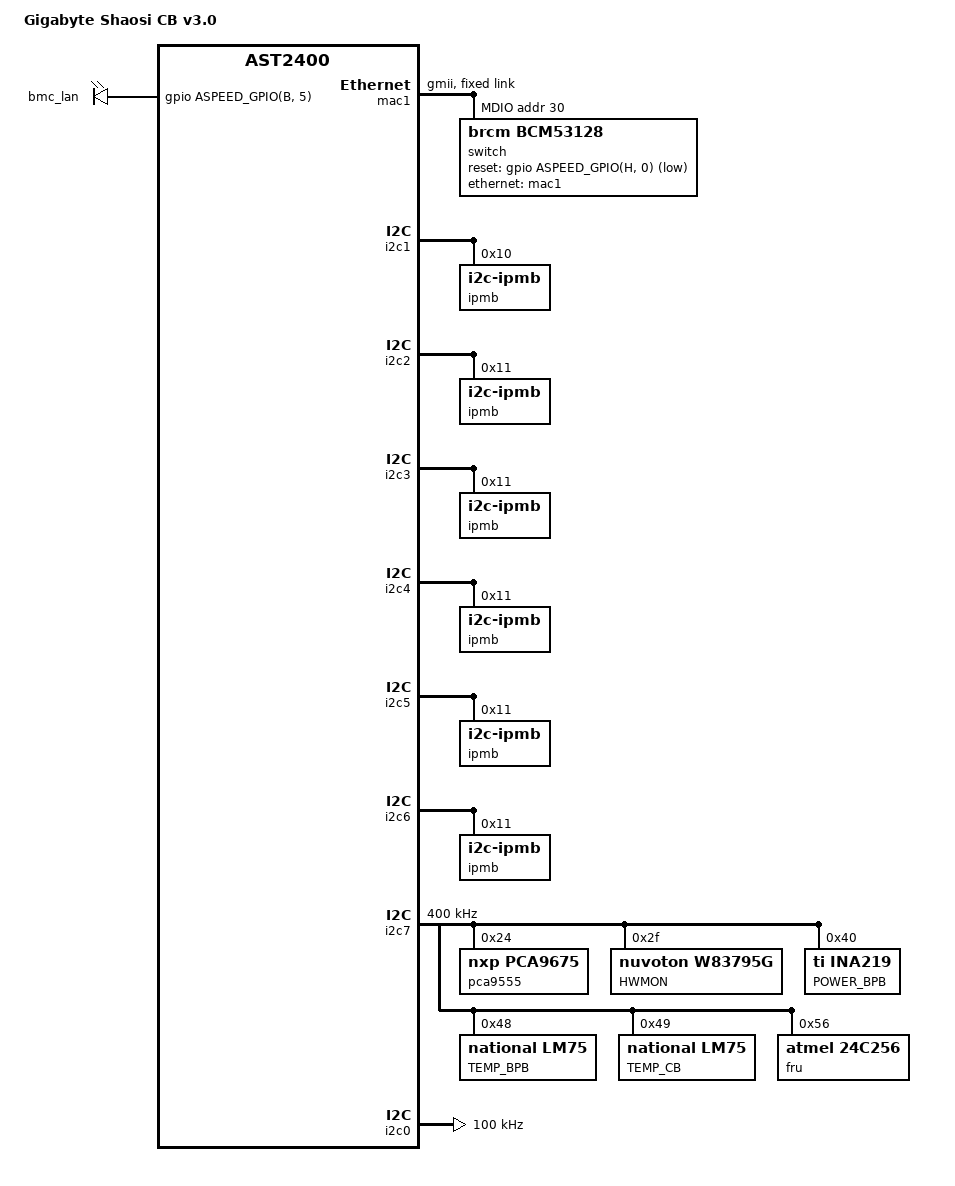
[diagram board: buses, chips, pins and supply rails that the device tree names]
/dts-v1/;
/plugin/;

#include <dt-bindings/gpio/gpio.h>
#include <dt-bindings/gpio/aspeed-gpio.h>

/ {
	compatible = "aspeed,ast2400";

	fragment@0 {
		target-path = "/";
		__overlay__ {
			model = "Gigabyte Shaosi CB v3.0";
		};
	};

	fragment@1 {
		target = <&leds>;
		__overlay__ {
			bmc_lan {
				label = "bmc_lan";
				gpios = <&gpio ASPEED_GPIO(B, 5) GPIO_ACTIVE_HIGH>;
				linux,default-trigger = "netdev";
			};
		};
	};

	fragment@2 {
		target = <&mac1>;
		#address-cells = <1>;
		#size-cells = <0>;
		__overlay__ {
			#address-cells = <1>;
			#size-cells = <0>;
			compatible = "faraday,ftgmac100", "aspeed,ast2400-mac";
			reg = <0x1e680000 0x180>;
			interrupts = <3>;
			status = "okay";
			no-hw-checksum;

			pinctrl-names = "default";
			pinctrl-0 = <&pinctrl_rgmii2_default &pinctrl_mdio2_default>;

			phy-mode = "gmii";

			fixed-link {
				speed = <1000>;
				max-speed = <1000>;
				full-duplex;
			};

			mdio {
				#address-cells = <1>;
				#size-cells = <0>;

				switch: ethernet-switch@1e {
					#address-cells = <1>;
					#size-cells = <0>;
					compatible = "brcm,bcm53128";
					reset-gpios = <&gpio ASPEED_GPIO(H, 0) GPIO_ACTIVE_LOW>;
					reg = <0x1e>;

					ports {
						port0@0 {
							reg = <0>;
							label = "lan1";
						};

						port1@1 {
							reg = <1>;
							label = "lan2";
						};

						port2@2 {
							reg = <2>;
							label = "lan3";
						};

						port3@3 {
							reg = <3>;
							label = "lan4";
						};

						port4@4 {
							reg = <4>;
							label = "lan5";
						};

						port5@5 {
							reg = <5>;
							label = "lan6";
						};

						port6@6 {
							reg = <6>;
							label = "uplink";
						};

						port8@8 {
							reg = <8>;
							label = "cpu";
							phy-mode = "gmii";
							ethernet = <&mac1>;
							fixed-link {
								speed = <1000>;
								max-speed = <1000>;
								full-duplex;
							};
						};
					};
				};
			};
		};
	};

	fragment@3 {
		target = <&i2c1>;
		__overlay__ {
			status = "okay";

			ipmb {
				compatible = "i2c-ipmb";
				reg = <0x10>;
				slave-addr = <0x36>;
			};
		};
	};

	fragment@4 {
		target = <&i2c2>;
		__overlay__ {
			status = "okay";
			ipmb {
				compatible = "i2c-ipmb";
				reg = <0x11>;
				slave-addr = <0x36>;
			};
		};
	};

	fragment@5 {
		target = <&i2c3>;
		__overlay__ {
			status = "okay";
			ipmb {
				compatible = "i2c-ipmb";
				reg = <0x11>;
				slave-addr = <0x36>;
			};
		};
	};

	fragment@6 {
		target = <&i2c4>;
		__overlay__ {
			status = "okay";
			ipmb {
				compatible = "i2c-ipmb";
				reg = <0x11>;
				slave-addr = <0x36>;
			};
		};
	};

	fragment@7 {
		target = <&i2c5>;
		__overlay__ {
			status = "okay";
			ipmb {
				compatible = "i2c-ipmb";
				reg = <0x11>;
				slave-addr = <0x36>;
			};
		};
	};

	fragment@8 {
		target = <&i2c6>;
		__overlay__ {
			status = "okay";
			ipmb {
				compatible = "i2c-ipmb";
				reg = <0x11>;
				slave-addr = <0x36>;
			};
		};
	};

	fragment@9 {
		target = <&i2c7>;
		__overlay__ {
			status = "okay";
			clock-frequency = <400000>;
					pca9555: gpio-expander@24 {
						compatible = "nxp,pca9675";
						gpio-controller;
						#gpio-cells = <2>;
						reg = <0x24>;
					};
					sensors {
						label = "HWMON";
						compatible = "nuvoton,w83795g";
						reg = <0x2f>;
					};
					power {
						label = "POWER_BPB";
						compatible = "ti,ina219";
						reg = <0x40>;
						shunt-resistor = <500>;
					};
					tmp@48 {
						label = "TEMP_BPB";
						compatible = "national,lm75";
						reg = <0x48>;
					};
					tmp@49 {
						label = "TEMP_CB";
						compatible = "national,lm75";
						reg = <0x49>;
					};
			fru {
				compatible = "atmel,24c256";
				reg = <0x56>;
/*				pagesize = <32>; */
			};
		};
	};

	fragment@10 {
		target = <&i2c0>;
		__overlay__ {
			/* Common i2c */
			status = "okay";
			clock-frequency = <100000>;
/*
			ipmb {
				compatible = "i2c-ipmb";
				reg = <0x14>;
				slave-addr = <0x31>;
			};
*/
		};
	};
};
